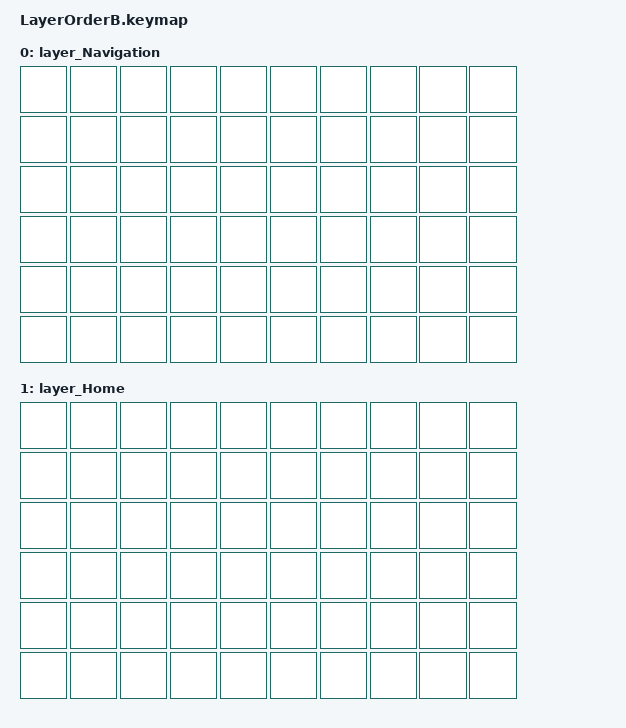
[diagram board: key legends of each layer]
/* THIS FILE WAS GENERATED BY GO60 LAYOUT EDITOR */

#define KB_TYPE_GO_60 2
#define KB_TYPE KB_TYPE_GO_60
#define LAYER_Navigation 0
#define LAYER_Home 1

/ {
    keymap {
        compatible = "zmk,keymap";

        layer_Navigation {
            bindings = <
                &none &none &none &none &none &none &none &none &none &none
                &none &none &none &none &none &none &none &none &none &none
                &none &none &none &none &none &none &none &none &none &none
                &none &none &none &none &none &none &none &none &none &none
                &none &none &none &none &none &none &none &none &none &none
                &none &none &none &none &none &none &none &none &none &none
            >;
        };

        layer_Home {
            bindings = <
                &none &none &none &none &none &none &none &none &none &none
                &none &none &none &none &none &none &none &none &none &none
                &none &none &none &none &none &none &none &none &none &none
                &none &none &none &none &none &none &none &none &none &none
                &none &none &none &none &none &none &none &none &none &none
                &none &none &none &none &none &none &none &none &none &none
            >;
        };
    };
};
